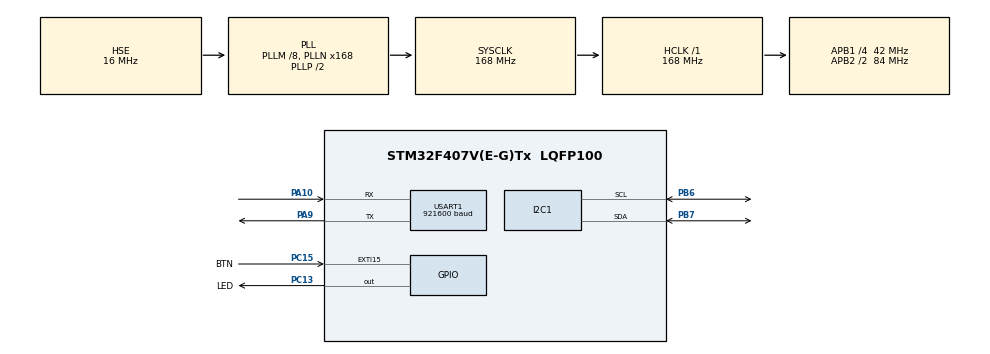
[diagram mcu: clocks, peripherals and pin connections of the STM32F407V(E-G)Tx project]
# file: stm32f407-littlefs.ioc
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I2C1.I2C_Mode=I2C_Fast
Mcu.Family=STM32F4
Mcu.Name=STM32F407V(E-G)Tx
Mcu.Package=LQFP100
NVIC.EXTI15_10_IRQn=true\:0\:0\:false\:false\:true\:true\:true\:true
NVIC.PriorityGroup=NVIC_PRIORITYGROUP_4
PA10.Mode=Asynchronous
PA10.Signal=USART1_RX
PA13.Mode=Trace_Asynchronous_SW
PA13.Signal=SYS_JTMS-SWDIO
PA14.Mode=Trace_Asynchronous_SW
PA14.Signal=SYS_JTCK-SWCLK
PA9.Mode=Asynchronous
PA9.Signal=USART1_TX
PB3.Mode=Trace_Asynchronous_SW
PB3.Signal=SYS_JTDO-SWO
PB6.Mode=I2C
PB6.Signal=I2C1_SCL
PB7.Mode=I2C
PB7.Signal=I2C1_SDA
PC13-ANTI_TAMP.GPIO_Label=LED
PC13-ANTI_TAMP.GPIO_ModeDefaultOutputPP=GPIO_MODE_OUTPUT_OD
PC13-ANTI_TAMP.GPIO_PuPd=GPIO_NOPULL
PC13-ANTI_TAMP.PinState=GPIO_PIN_SET
PC13-ANTI_TAMP.Signal=GPIO_Output
PC15-OSC32_OUT.GPIO_Label=BTN
PC15-OSC32_OUT.Signal=GPXTI15
PH0-OSC_IN.Mode=HSE-External-Oscillator
PH0-OSC_IN.Signal=RCC_OSC_IN
PH1-OSC_OUT.Mode=HSE-External-Oscillator
PH1-OSC_OUT.Signal=RCC_OSC_OUT
ProjectManager.HeapSize=0x200
ProjectManager.StackSize=0x400
ProjectManager.TargetToolchain=STM32CubeIDE
RCC.48MHZClocksFreq_Value=48000000
RCC.AHBFreq_Value=168000000
RCC.APB1CLKDivider=RCC_HCLK_DIV4
RCC.APB1Freq_Value=42000000
RCC.APB1TimFreq_Value=84000000
RCC.APB2CLKDivider=RCC_HCLK_DIV2
RCC.APB2Freq_Value=84000000
RCC.APB2TimFreq_Value=168000000
RCC.CortexFreq_Value=168000000
RCC.HCLKFreq_Value=168000000
RCC.HSE_VALUE=16000000
RCC.HSI_VALUE=16000000
RCC.LSE_VALUE=32768
RCC.PLLM=8
RCC.PLLN=168
RCC.PLLQ=7
RCC.PLLSourceVirtual=RCC_PLLSOURCE_HSE
RCC.SYSCLKFreq_VALUE=168000000
RCC.SYSCLKSource=RCC_SYSCLKSOURCE_PLLCLK
RCC.VCOOutputFreq_Value=336000000
USART1.BaudRate=921600
USART1.VirtualMode=VM_ASYNC
VP_RNG_VS_RNG.Mode=RNG_Activate
board=custom

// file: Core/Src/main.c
/* USER CODE BEGIN Header */
/**
 ******************************************************************************
 * @file           : main.c
 * @brief          : Main program body
 ******************************************************************************
 * @attention
 *
 * Copyright (c) 2026 Lars Boegild Thomsen <lbthomsen@gmail.com>
 * All rights reserved.
 *
 * This software is licensed under terms that can be found in the LICENSE file
 * in the root directory of this software component.
 * If no LICENSE file comes with this software, it is provided AS-IS.
 *
 ******************************************************************************
 */
/* USER CODE END Header */
#include "main.h"

/* USER CODE BEGIN Includes */
#include <string.h>
#include "m24cxx.h"
#include "lfs.h"
#include "littlefs.h"
/* USER CODE END Includes */

I2C_HandleTypeDef hi2c1;

RNG_HandleTypeDef hrng;

UART_HandleTypeDef huart1;

/* USER CODE BEGIN PV */

uint8_t buffer[1024] = { 0 };

M24CXX_HandleTypeDef m24cxx;

uint8_t do_action = 0;

lfs_file_t file;
lfs_dir_t dir;
struct lfs_info info;

/* USER CODE END PV */

void SystemClock_Config(void);
static void MX_GPIO_Init(void);
static void MX_I2C1_Init(void);
static void MX_USART1_UART_Init(void);
static void MX_RNG_Init(void);

/* USER CODE BEGIN 0 */

// Send printf to uart1
int __io_putchar(int ch) {
    if (ch == '\n') {
        HAL_UART_Transmit(&huart1, (uint8_t*) "\r", 1, HAL_MAX_DELAY);
    }
    if (HAL_UART_Transmit(&huart1, (uint8_t*) &ch, 1, HAL_MAX_DELAY) != HAL_OK) {
        return -1;
    }
    return ch;
}

void HAL_GPIO_EXTI_Callback(uint16_t GPIO_Pin) {
    if (GPIO_Pin == BTN_Pin) // If the button
    {
        do_action = 1;
    }
}

/* USER CODE END 0 */

int main(void)
{

  /* MCU Configuration--------------------------------------------------------*/

  /* Reset of all peripherals, Initializes the Flash interface and the Systick. */
  HAL_Init();

  /* Configure the system clock */
  SystemClock_Config();

  /* Initialize all configured peripherals */
  MX_GPIO_Init();
  MX_I2C1_Init();
  MX_USART1_UART_Init();
  MX_RNG_Init();
  /* USER CODE BEGIN 2 */

    printf("\n\n\n\n--------\nStarting\n");

    // Wait a few ms to get ready
    HAL_Delay(10);

    printf("Scanning I2C bus:\n");
    // Go through all possible i2c addresses
    for (uint8_t i = 0; i < 128; i++) {

        if (HAL_I2C_IsDeviceReady(&hi2c1, (uint16_t) (i << 1), 3, 100) == HAL_OK) {
            // We got an ack
            printf("%2x ", i);
        } else {
            printf("-- ");
        }

        if (i > 0 && (i + 1) % 16 == 0)
            printf("\n");

    }

    printf("\r\n");

    if (m24cxx_init(&m24cxx, &hi2c1, 0x50) != M24CXX_Ok) {
        printf("M24CXX Failed to initialize\n");
        Error_Handler();
    }

    //m24cxx_erase_all(&m24cxx);

    m24cxx_littlefs_init(&m24cxx);

    // read current count
    uint32_t boot_count = 0;

    if (lfs_file_open(&littlefs, &file, "boot_count", LFS_O_RDWR | LFS_O_CREAT) == LFS_ERR_OK) {
        if (lfs_file_read(&littlefs, &file, &boot_count, sizeof(boot_count)) >= 0) {
            // update boot count
            ++boot_count;
            lfs_file_rewind(&littlefs, &file);
            if (lfs_file_write(&littlefs, &file, &boot_count, sizeof(boot_count)) >= 0) {
                printf("Boot count file updated\n");
                // remember the storage is not updated until the file is closed successfully
                lfs_file_close(&littlefs, &file);
            } else {
                printf("Unable to write boot count file\n");
                Error_Handler();
            }
        } else {
            printf("Unable to read boot count file\n");
            Error_Handler();
        }
    } else {
        printf("Unable to open boot count file\n");
        Error_Handler();
    }

    uint32_t start_uptime = 0;

    lfs_file_open(&littlefs, &file, "uptime", LFS_O_RDWR | LFS_O_CREAT);
    lfs_file_read(&littlefs, &file, &start_uptime, sizeof(start_uptime));
    lfs_file_close(&littlefs, &file);

    printf("Boot count = %lu start uptime = %lu s\n", boot_count, start_uptime);

    // Fill buffer with random data
    for (int i = 0; i < 1024; ++i) {
        buffer[i] = (uint8_t) HAL_RNG_GetRandomNumber_IT(&hrng);
    }

    // Let's do a big file and time it

    printf("Creating big file\n");
    uint32_t start = uwTick;
    lfs_file_open(&littlefs, &file, "big", LFS_O_RDWR | LFS_O_CREAT);
    lfs_file_rewind(&littlefs, &file);

    for (int i = 0; i < 100; ++i) {
        lfs_file_write(&littlefs, &file, &buffer, sizeof(buffer));
    }

    lfs_file_close(&littlefs, &file);

    printf("Writing %d kB took %lu ms\n", 100, uwTick - start);

  /* USER CODE END 2 */

  /* Infinite loop */
  /* USER CODE BEGIN WHILE */

    uint32_t now = 0, last_blink = 0, last_update = 0;

    while (1) {

        now = HAL_GetTick();

        if (now - last_blink >= 500) {
            HAL_GPIO_TogglePin(LED_GPIO_Port, LED_Pin);
            last_blink = now;
        }

        if (now - last_update >= 1000) {

            uint32_t total_uptime = start_uptime + now / 1000;

            uint32_t start = HAL_GetTick();
            lfs_file_open(&littlefs, &file, "uptime", LFS_O_RDWR);
            lfs_file_rewind(&littlefs, &file);
            lfs_file_write(&littlefs, &file, &total_uptime, sizeof(total_uptime));
            lfs_file_close(&littlefs, &file);
            printf("File update took %lu ms\n", HAL_GetTick() - start);

            printf("Total uptime = %lu s\n", total_uptime);

            last_update = now;
        }

        if (do_action) {
            do_action = 0;

            printf("Do action!\n");

            // Create a buffer
            uint8_t buffer[1024] = { 0 };

            uint32_t start = uwTick;

            lfs_file_open(&littlefs, &file, "big", LFS_O_RDWR | LFS_O_CREAT);
            lfs_file_rewind(&littlefs, &file);
            for (int i = 0; i < 10; ++i) {
                lfs_file_write(&littlefs, &file, &buffer, sizeof(buffer));
            }
            lfs_file_close(&littlefs, &file);

            printf("File update took %lu ms\n", uwTick - start);

        }

    /* USER CODE END WHILE */

    }
}

void SystemClock_Config(void)
{
  RCC_OscInitTypeDef RCC_OscInitStruct = {0};
  RCC_ClkInitTypeDef RCC_ClkInitStruct = {0};

  /** Configure the main internal regulator output voltage
  */
  __HAL_RCC_PWR_CLK_ENABLE();
  __HAL_PWR_VOLTAGESCALING_CONFIG(PWR_REGULATOR_VOLTAGE_SCALE1);

  /** Initializes the RCC Oscillators according to the specified parameters
  * in the RCC_OscInitTypeDef structure.
  */
  RCC_OscInitStruct.OscillatorType = RCC_OSCILLATORTYPE_HSE;
  RCC_OscInitStruct.HSEState = RCC_HSE_ON;
  RCC_OscInitStruct.PLL.PLLState = RCC_PLL_ON;
  RCC_OscInitStruct.PLL.PLLSource = RCC_PLLSOURCE_HSE;
  RCC_OscInitStruct.PLL.PLLM = 8;
  RCC_OscInitStruct.PLL.PLLN = 168;
  RCC_OscInitStruct.PLL.PLLP = RCC_PLLP_DIV2;
  RCC_OscInitStruct.PLL.PLLQ = 7;
  if (HAL_RCC_OscConfig(&RCC_OscInitStruct) != HAL_OK)
  {
    Error_Handler();
  }

  /** Initializes the CPU, AHB and APB buses clocks
  */
  RCC_ClkInitStruct.ClockType = RCC_CLOCKTYPE_HCLK|RCC_CLOCKTYPE_SYSCLK
                              |RCC_CLOCKTYPE_PCLK1|RCC_CLOCKTYPE_PCLK2;
  RCC_ClkInitStruct.SYSCLKSource = RCC_SYSCLKSOURCE_PLLCLK;
  RCC_ClkInitStruct.AHBCLKDivider = RCC_SYSCLK_DIV1;
  RCC_ClkInitStruct.APB1CLKDivider = RCC_HCLK_DIV4;
  RCC_ClkInitStruct.APB2CLKDivider = RCC_HCLK_DIV2;

  if (HAL_RCC_ClockConfig(&RCC_ClkInitStruct, FLASH_LATENCY_5) != HAL_OK)
  {
    Error_Handler();
  }
}

static void MX_I2C1_Init(void)
{

  hi2c1.Instance = I2C1;
  hi2c1.Init.ClockSpeed = 400000;
  hi2c1.Init.DutyCycle = I2C_DUTYCYCLE_2;
  hi2c1.Init.OwnAddress1 = 0;
  hi2c1.Init.AddressingMode = I2C_ADDRESSINGMODE_7BIT;
  hi2c1.Init.DualAddressMode = I2C_DUALADDRESS_DISABLE;
  hi2c1.Init.OwnAddress2 = 0;
  hi2c1.Init.GeneralCallMode = I2C_GENERALCALL_DISABLE;
  hi2c1.Init.NoStretchMode = I2C_NOSTRETCH_DISABLE;
  if (HAL_I2C_Init(&hi2c1) != HAL_OK)
  {
    Error_Handler();
  }

}

static void MX_RNG_Init(void)
{

  hrng.Instance = RNG;
  if (HAL_RNG_Init(&hrng) != HAL_OK)
  {
    Error_Handler();
  }

}

static void MX_USART1_UART_Init(void)
{

  huart1.Instance = USART1;
  huart1.Init.BaudRate = 921600;
  huart1.Init.WordLength = UART_WORDLENGTH_8B;
  huart1.Init.StopBits = UART_STOPBITS_1;
  huart1.Init.Parity = UART_PARITY_NONE;
  huart1.Init.Mode = UART_MODE_TX_RX;
  huart1.Init.HwFlowCtl = UART_HWCONTROL_NONE;
  huart1.Init.OverSampling = UART_OVERSAMPLING_16;
  if (HAL_UART_Init(&huart1) != HAL_OK)
  {
    Error_Handler();
  }

}

static void MX_GPIO_Init(void)
{
  GPIO_InitTypeDef GPIO_InitStruct = {0};

  /* GPIO Ports Clock Enable */
  __HAL_RCC_GPIOC_CLK_ENABLE();
  __HAL_RCC_GPIOH_CLK_ENABLE();
  __HAL_RCC_GPIOA_CLK_ENABLE();
  __HAL_RCC_GPIOB_CLK_ENABLE();

  /*Configure GPIO pin Output Level */
  HAL_GPIO_WritePin(LED_GPIO_Port, LED_Pin, GPIO_PIN_SET);

  /*Configure GPIO pin : LED_Pin */
  GPIO_InitStruct.Pin = LED_Pin;
  GPIO_InitStruct.Mode = GPIO_MODE_OUTPUT_OD;
  GPIO_InitStruct.Pull = GPIO_NOPULL;
  GPIO_InitStruct.Speed = GPIO_SPEED_FREQ_LOW;
  HAL_GPIO_Init(LED_GPIO_Port, &GPIO_InitStruct);

  /*Configure GPIO pin : BTN_Pin */
  GPIO_InitStruct.Pin = BTN_Pin;
  GPIO_InitStruct.Mode = GPIO_MODE_IT_RISING;
  GPIO_InitStruct.Pull = GPIO_NOPULL;
  HAL_GPIO_Init(BTN_GPIO_Port, &GPIO_InitStruct);

  /* EXTI interrupt init*/
  HAL_NVIC_SetPriority(EXTI15_10_IRQn, 0, 0);
  HAL_NVIC_EnableIRQ(EXTI15_10_IRQn);

}

void Error_Handler(void)
{
    __disable_irq();
    while (1) {
    }
}
